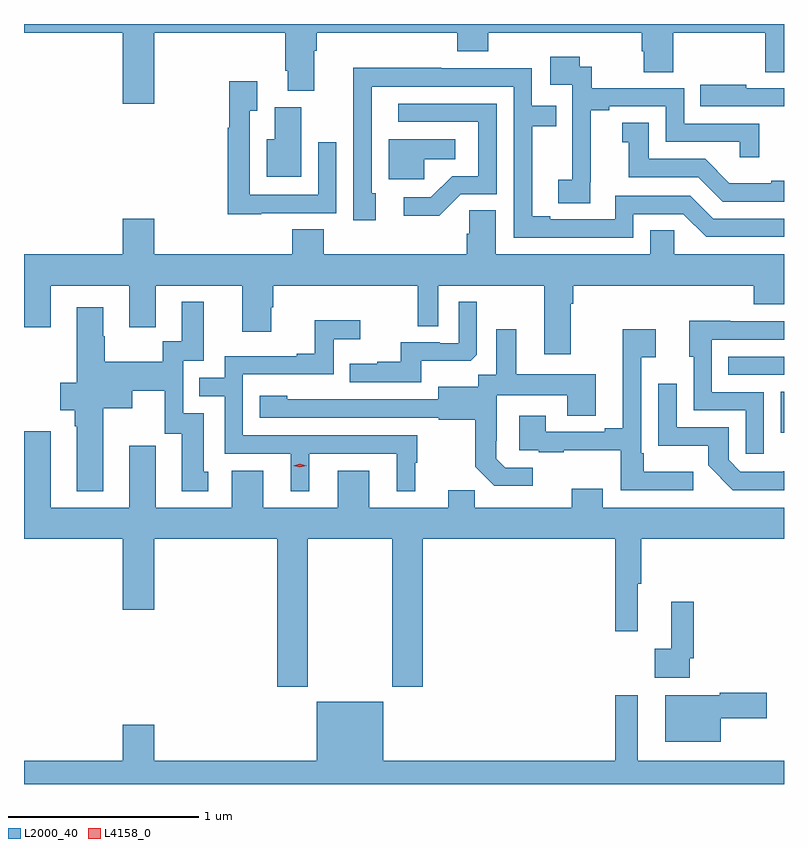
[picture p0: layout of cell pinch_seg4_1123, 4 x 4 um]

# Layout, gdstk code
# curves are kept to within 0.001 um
import gdstk
lib = gdstk.Library(unit=1e-6, precision=1e-09)
def R(c, l, rs):  # rectangles x0, y0, x1, y1
    for r in rs: c.add(gdstk.rectangle(r[:2], r[2:], *l))
def P(c, l, *ps):  # polygons
    for p in ps: c.add(gdstk.Polygon(p, *l))
L2000_40 = (2000, 40)
L4158_0 = (4158, 0)

pinch_seg4_1123 = lib.new_cell('pinch_seg4_1123')
R(pinch_seg4_1123, L2000_40, [(492.146,786.722,492.163,786.937), (491.869,787.026,492.163,787.122)])
P(pinch_seg4_1123, L2000_40, [(488.163,788.828),(488.684,788.828),(488.684,788.454),(488.848,788.454),(488.848,788.828),(489.539,788.828),(489.539,788.626),(489.551,788.626),(489.551,788.521),(489.691,788.521),(489.691,788.732),(489.704,788.732),(489.704,788.828),(490.442,788.828),(490.442,788.729),(490.607,788.729),(490.607,788.828),(491.414,788.828),(491.414,788.73),(491.426,788.73),(491.426,788.62),(491.579,788.62),(491.579,788.828),(492.065,788.828),(492.065,788.62),(492.163,788.62),(492.163,788.873),(488.163,788.873)],
  [(491.144,788.041),(491.146,788.041),(491.146,788.419),(491.242,788.419),(491.242,788.439),(491.541,788.439),(491.541,788.253),(491.931,788.253),(491.931,788.172),(492.032,788.172),(492.032,788.349),(491.637,788.349),(491.637,788.535),(491.15,788.535),(491.15,788.649),(491.088,788.649),(491.088,788.701),(490.932,788.701),(490.932,788.553),(491.049,788.553),(491.049,788.249),(491.048,788.249),(491.048,788.052),(490.974,788.052),(490.974,787.93),(491.144,787.93)],
  [(491.37,787.872),(491.634,787.872),(491.754,787.752),(492.163,787.752),(492.163,787.848),(491.79,787.848),(491.67,787.968),(491.274,787.968),(491.274,787.845),(490.933,787.845),(490.933,787.86),(490.837,787.86),(490.837,788.334),(490.964,788.334),(490.964,788.442),(490.836,788.442),(490.836,788.64),(490.358,788.64),(490.358,788.642),(489.896,788.642),(489.897,787.839),(490.015,787.839),(490.015,787.983),(489.993,787.983),(489.993,788.544),(490.74,788.544),(490.74,787.749),(491.37,787.749)],
  [(489.411,787.878),(489.807,787.878),(489.807,788.251),(489.711,788.251),(489.711,787.974),(489.351,787.974),(489.351,788.416),(489.391,788.416),(489.391,788.572),(489.243,788.572),(489.243,788.327),(489.235,788.327),(489.235,787.871),(489.411,787.871)],
  [(492.163,788.535),(491.965,788.535),(491.965,788.554),(491.722,788.554),(491.722,788.439),(492.163,788.439)],
  [(490.461,787.977),(490.65,787.977),(490.65,788.454),(490.134,788.454),(490.134,788.358),(490.554,788.358),(490.554,788.073),(490.416,788.073),(490.305,787.962),(490.161,787.962),(490.161,787.865),(490.348,787.865)],
  [(489.622,788.436),(489.482,788.436),(489.482,788.266),(489.44,788.266),(489.44,788.069),(489.622,788.069)],
  [(492.163,788.047),(492.095,788.047),(492.095,788.035),(491.876,788.035),(491.748,788.163),(491.452,788.163),(491.452,788.354),(491.312,788.354),(491.312,788.251),(491.345,788.251),(491.345,788.067),(491.712,788.067),(491.841,787.938),(492.163,787.938)],
  [(490.269,788.162),(490.432,788.162),(490.432,788.266),(490.082,788.266),(490.082,788.055),(490.269,788.055)],
  [(490.901,787.134),(491.041,787.134),(491.041,787.4),(491.054,787.4),(491.054,787.496),(492.005,787.496),(492.005,787.397),(492.163,787.397),(492.163,787.66),(491.586,787.66),(491.586,787.787),(491.459,787.787),(491.459,787.66),(490.645,787.66),(490.645,787.892),(490.506,787.892),(490.506,787.769),(490.493,787.769),(490.493,787.66),(489.74,787.66),(489.74,787.793),(489.575,787.793),(489.575,787.66),(488.848,787.66),(488.848,787.849),(488.684,787.849),(488.684,787.66),(488.163,787.66),(488.163,787.278),(488.305,787.278),(488.305,787.496),(488.717,787.496),(488.717,787.278),(488.857,787.278),(488.857,787.496),(489.311,787.496),(489.311,787.254),(489.463,787.254),(489.463,787.383),(489.476,787.383),(489.476,787.496),(490.236,787.496),(490.236,787.282),(490.344,787.282),(490.344,787.496),(490.901,787.496)],
  [(488.581,786.851),(488.734,786.851),(488.734,786.944),(488.904,786.944),(488.904,786.717),(488.993,786.717),(488.993,786.414),(489.133,786.414),(489.133,786.516),(489.109,786.516),(489.109,786.825),(489,786.825),(489,787.101),(489.109,787.101),(489.109,787.411),(488.993,787.411),(488.993,787.202),(488.892,787.202),(488.892,787.096),(488.589,787.096),(488.589,787.23),(488.581,787.23),(488.581,787.381),(488.441,787.381),(488.441,786.986),(488.354,786.986),(488.354,786.839),(488.429,786.839),(488.429,786.755),(488.441,786.755),(488.441,786.413),(488.581,786.413)],
  [(490.255,787.1),(490.513,787.1),(490.545,787.131),(490.545,787.411),(490.452,787.411),(490.452,787.194),(490.352,787.194),(490.352,787.197),(490.145,787.197),(490.145,787.096),(490.021,787.096),(490.021,787.084),(489.877,787.084),(489.877,786.987),(490.255,786.987)],
  [(489.664,786.612),(490.124,786.612),(490.124,786.413),(490.222,786.413),(490.222,786.564),(490.234,786.564),(490.234,786.708),(489.315,786.708),(489.315,787.029),(489.792,787.029),(489.792,787.214),(489.934,787.214),(489.934,787.313),(489.694,787.313),(489.694,787.138),(489.599,787.138),(489.599,787.125),(489.219,787.125),(489.219,787.011),(489.085,787.011),(489.085,786.915),(489.219,786.915),(489.219,786.612),(489.566,786.612),(489.566,786.413),(489.664,786.413)],
  [(492.057,786.936),(491.784,786.936),(491.784,787.212),(492.163,787.212),(492.163,787.308),(491.881,787.308),(491.881,787.31),(491.663,787.31),(491.663,787.122),(491.688,787.122),(491.688,786.84),(491.961,786.84),(491.961,786.612),(492.057,786.612)],
  [(491.686,786.517),(491.425,786.517),(491.425,786.613),(491.412,786.613),(491.412,787.118),(491.488,787.118),(491.488,787.267),(491.315,787.267),(491.315,786.745),(491.219,786.745),(491.219,786.726),(490.909,786.726),(490.909,786.811),(490.769,786.811),(490.769,786.63),(490.873,786.63),(490.873,786.618),(491.005,786.618),(491.005,786.629),(491.304,786.629),(491.304,786.42),(491.686,786.42)],
  [(490.84,786.537),(490.695,786.537),(490.648,786.584),(490.648,786.679),(490.65,786.679),(490.65,786.92),(491.021,786.92),(491.021,786.811),(491.173,786.811),(491.173,787.03),(490.753,787.03),(490.753,787.267),(490.649,787.267),(490.649,787.028),(490.554,787.028),(490.554,786.964),(490.343,786.964),(490.343,786.897),(489.549,786.898),(489.549,786.916),(489.405,786.916),(489.405,786.801),(490.347,786.801),(490.347,786.789),(490.539,786.789),(490.539,786.543),(490.639,786.443),(490.84,786.443)],
  [(492.163,786.518),(492.158,786.518),(492.158,786.516),(491.934,786.516),(491.871,786.579),(491.871,786.75),(491.598,786.75),(491.598,786.979),(491.502,786.979),(491.502,786.653),(491.764,786.653),(491.764,786.551),(491.894,786.42),(492.163,786.42)],
  [(488.848,786.164),(489.497,786.164),(489.497,785.385),(489.657,785.385),(489.657,786.164),(490.102,786.164),(490.102,785.385),(490.262,785.385),(490.262,786.164),(491.275,786.164),(491.275,785.676),(491.393,785.676),(491.393,785.928),(491.411,785.928),(491.411,786.164),(492.163,786.164),(492.163,786.328),(491.209,786.328),(491.209,786.427),(491.045,786.427),(491.045,786.328),(490.535,786.328),(490.535,786.419),(490.397,786.419),(490.397,786.328),(489.979,786.328),(489.979,786.523),(489.815,786.523),(489.815,786.328),(489.421,786.328),(489.421,786.523),(489.257,786.523),(489.257,786.328),(488.857,786.328),(488.857,786.652),(488.717,786.652),(488.717,786.328),(488.305,786.328),(488.305,786.73),(488.163,786.73),(488.163,786.164),(488.684,786.164),(488.684,785.79),(488.848,785.79)],
  [(491.667,785.536),(491.687,785.536),(491.687,785.833),(491.57,785.833),(491.57,785.585),(491.484,785.585),(491.484,785.432),(491.667,785.432)],
  [(491.83,785.219),(492.073,785.219),(492.073,785.354),(491.826,785.354),(491.826,785.341),(491.537,785.341),(491.537,785.096),(491.83,785.096)],
  [(492.163,784.996),(491.392,784.996),(491.392,785.341),(491.275,785.341),(491.275,784.996),(490.054,784.996),(490.054,785.305),(489.704,785.305),(489.704,784.996),(488.848,784.996),(488.848,785.185),(488.684,785.185),(488.684,784.996),(488.163,784.996),(488.163,784.873),(492.163,784.873)])
P(pinch_seg4_1123, L4158_0, [(489.615,786.539),(489.579,786.549),(489.579,786.549),(489.579,786.549),(489.615,786.559),(489.651,786.549),(489.651,786.549),(489.651,786.549)])

lib.write_gds('pinch_seg4_1123.gds')
